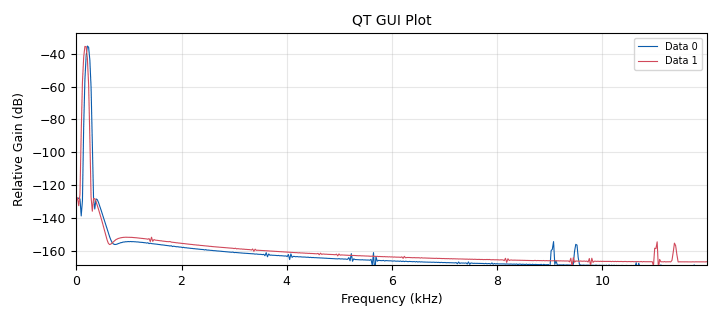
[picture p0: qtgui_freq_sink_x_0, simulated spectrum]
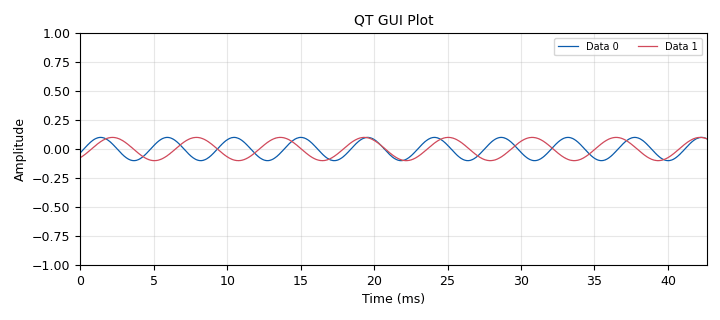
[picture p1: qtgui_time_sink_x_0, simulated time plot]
<?xml version='1.0' encoding='utf-8'?>
<?grc format='1' created='3.7.14'?>
<flow_graph>
<block>
<key>options</key>
<param><key>id</key><value>tutorial_two_1</value></param>
<param><key>generate_options</key><value>qt_gui</value></param>
</block>
<block>
<key>variable</key>
<param><key>id</key><value>audio_rate</value></param>
<param><key>value</key><value>24000</value></param>
</block>
<block>
<key>variable_qtgui_chooser</key>
<param><key>id</key><value>samp_rate</value></param>
<param><key>value</key><value>48000</value></param>
<param><key>label0</key><value>48000</value></param>
<param><key>label1</key><value>24000</value></param>
<param><key>label2</key><value>16000</value></param>
<param><key>label</key><value>signal sampling rate</value></param>
<param><key>num_opts</key><value>3</value></param>
<param><key>option0</key><value>48000</value></param>
<param><key>option1</key><value>24000</value></param>
<param><key>option2</key><value>16000</value></param>
<param><key>type</key><value>int</value></param>
</block>
<block>
<key>analog_sig_source_x</key>
<param><key>id</key><value>analog_sig_source_x_0</value></param>
<param><key>amp</key><value>0.1</value></param>
<param><key>freq</key><value>440</value></param>
<param><key>offset</key><value>0</value></param>
<param><key>type</key><value>float</value></param>
<param><key>samp_rate</key><value>samp_rate</value></param>
<param><key>waveform</key><value>analog.GR_SIN_WAVE</value></param>
</block>
<block>
<key>analog_sig_source_x</key>
<param><key>id</key><value>analog_sig_source_x_0_0</value></param>
<param><key>amp</key><value>0.1</value></param>
<param><key>freq</key><value>350</value></param>
<param><key>offset</key><value>0</value></param>
<param><key>type</key><value>float</value></param>
<param><key>samp_rate</key><value>samp_rate</value></param>
<param><key>waveform</key><value>analog.GR_SIN_WAVE</value></param>
</block>
<block>
<key>audio_sink</key>
<param><key>id</key><value>audio_sink_0</value></param>
<param><key>num_inputs</key><value>2</value></param>
<param><key>samp_rate</key><value>48000</value></param>
</block>
<block>
<key>qtgui_freq_sink_x</key>
<param><key>id</key><value>qtgui_freq_sink_x_0</value></param>
<param><key>autoscale</key><value>True</value></param>
<param><key>bw</key><value>audio_rate</value></param>
<param><key>fc</key><value>0</value></param>
<param><key>fftsize</key><value>1024</value></param>
<param><key>grid</key><value>True</value></param>
<param><key>label2</key><value></value></param>
<param><key>name</key><value>"QT GUI Plot"</value></param>
<param><key>nconnections</key><value>2</value></param>
<param><key>showports</key><value>True</value></param>
<param><key>freqhalf</key><value>False</value></param>
<param><key>type</key><value>float</value></param>
<param><key>wintype</key><value>firdes.WIN_BLACKMAN_hARRIS</value></param>
</block>
<block>
<key>qtgui_time_sink_x</key>
<param><key>id</key><value>qtgui_time_sink_x_0</value></param>
<param><key>color1</key><value>"blue"</value></param>
<param><key>label1</key><value></value></param>
<param><key>color2</key><value>"red"</value></param>
<param><key>label2</key><value></value></param>
<param><key>name</key><value>"QT GUI Plot"</value></param>
<param><key>nconnections</key><value>2</value></param>
<param><key>size</key><value>1024</value></param>
<param><key>srate</key><value>audio_rate</value></param>
<param><key>type</key><value>float</value></param>
</block>
<connection><source_block_id>analog_sig_source_x_0</source_block_id><sink_block_id>audio_sink_0</sink_block_id><source_key>0</source_key><sink_key>0</sink_key></connection>
<connection><source_block_id>analog_sig_source_x_0</source_block_id><sink_block_id>qtgui_freq_sink_x_0</sink_block_id><source_key>0</source_key><sink_key>0</sink_key></connection>
<connection><source_block_id>analog_sig_source_x_0</source_block_id><sink_block_id>qtgui_time_sink_x_0</sink_block_id><source_key>0</source_key><sink_key>0</sink_key></connection>
<connection><source_block_id>analog_sig_source_x_0_0</source_block_id><sink_block_id>audio_sink_0</sink_block_id><source_key>0</source_key><sink_key>1</sink_key></connection>
<connection><source_block_id>analog_sig_source_x_0_0</source_block_id><sink_block_id>qtgui_freq_sink_x_0</sink_block_id><source_key>0</source_key><sink_key>1</sink_key></connection>
<connection><source_block_id>analog_sig_source_x_0_0</source_block_id><sink_block_id>qtgui_time_sink_x_0</sink_block_id><source_key>0</source_key><sink_key>1</sink_key></connection>
</flow_graph>
